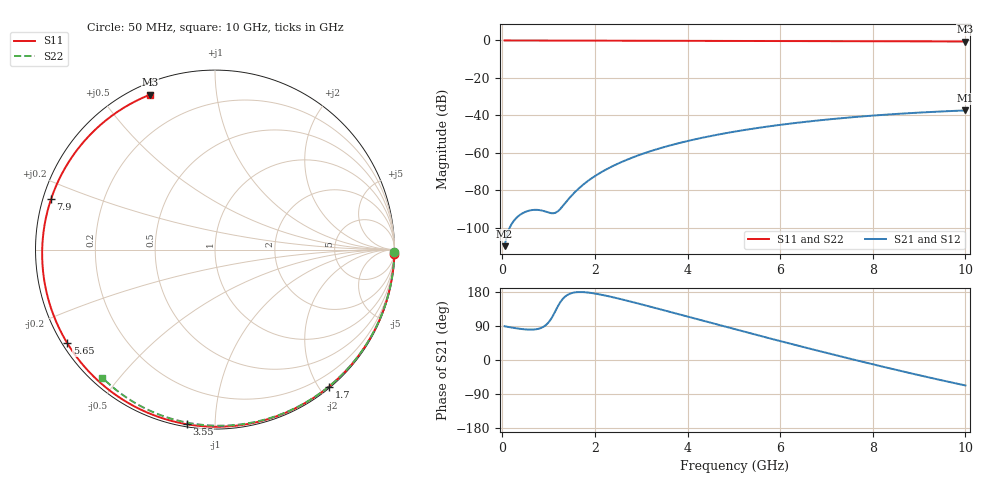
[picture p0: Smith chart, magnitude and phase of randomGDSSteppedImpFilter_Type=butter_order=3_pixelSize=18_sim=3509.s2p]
! freq	dB(S11)	phase(S11)	dB(S12)	phase(S12)
!  dB(S21)	phase(S21)	dB(S22)	phase(S22)
!S-par simulation data
#  GHz  S  DB  R 50
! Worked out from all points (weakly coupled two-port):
!   200 points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, 50 MHz to 10 GHz, reference 50 ohm
!   highest |S21| = -37.40 dB at 10 GHz (marker M1); lowest = -110.0 dB at 50 MHz (marker M2)
!   lowest |S11| = -0.6 dB at 10 GHz (marker M3), VSWR 30.24, Z = 2.38 + j33.2 ohm
!   |S11| at or under -10 dB: nowhere
!   |S22| runs from -0.4 to 0.0 dB; largest |S21 - S12| = 0
!   S11 on the Smith chart (normalised r, x): 50 MHz: 0, -75; 1.7 GHz: 0.02, -2.13; 3.55 GHz: 0.01, -0.85; 5.65 GHz: 0.01, -0.29; 7.9 GHz: 0.02, +0.15; 10 GHz: 0.05, +0.66
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0.05  -0.00 -1.5  -109.95 89.0  -109.95 89.0  -0.00 -0.8
0.4  -0.02 -12.1  -92.91 82.0  -92.91 82.0  -0.01 -6.1
0.8  -0.03 -24.1  -90.66 83.0  -90.66 83.0  -0.02 -12.1
1.2  -0.05 -35.9  -91.31 141.7  -91.31 141.7  -0.02 -18.0
1.6  -0.06 -47.5  -80.29 178.9  -80.29 178.9  -0.03 -24.0
1.7  -0.06 -50.3  -78.03 179.3  -78.03 179.3  -0.03 -25.5
1.75  -0.06 -51.7  -76.99 179.1  -76.99 179.1  -0.03 -26.2
2.05  -0.08 -60.1  -71.71 174.3  -71.71 174.3  -0.04 -30.6
2.45  -0.09 -71.0  -66.38 163.9  -66.38 163.9  -0.05 -36.4
2.9  -0.10 -82.9  -61.74 150.2  -61.74 150.2  -0.06 -42.8
3.4  -0.12 -95.6  -57.66 134.1  -57.66 134.1  -0.07 -49.9
3.55  -0.13 -99.3  -56.60 129.2  -56.60 129.2  -0.07 -51.9
4.25  -0.15 -116.1  -52.36 106.3  -52.36 106.3  -0.09 -61.5
5.05  -0.19 -134.4  -48.58 80.3  -48.58 80.3  -0.11 -72.2
5.65  -0.23 -147.7  -46.29 61.0  -46.29 61.0  -0.13 -79.9
6.2  -0.26 -159.8  -44.49 43.6  -44.49 43.6  -0.16 -86.8
6.7  -0.30 -170.6  -43.07 28.1  -43.07 28.1  -0.18 -93.0
7.3  -0.34 176.2  -41.60 9.7  -41.60 9.7  -0.21 -100.2
7.9  -0.39 162.9  -40.35 -8.3  -40.35 -8.3  -0.25 -107.3
8.35  -0.43 152.7  -39.54 -21.5  -39.54 -21.5  -0.29 -112.6
9.15  -0.50 133.8  -38.36 -44.3  -38.36 -44.3  -0.36 -121.7
10  -0.57 112.8  -37.40 -67.2  -37.40 -67.2  -0.44 -131.3
